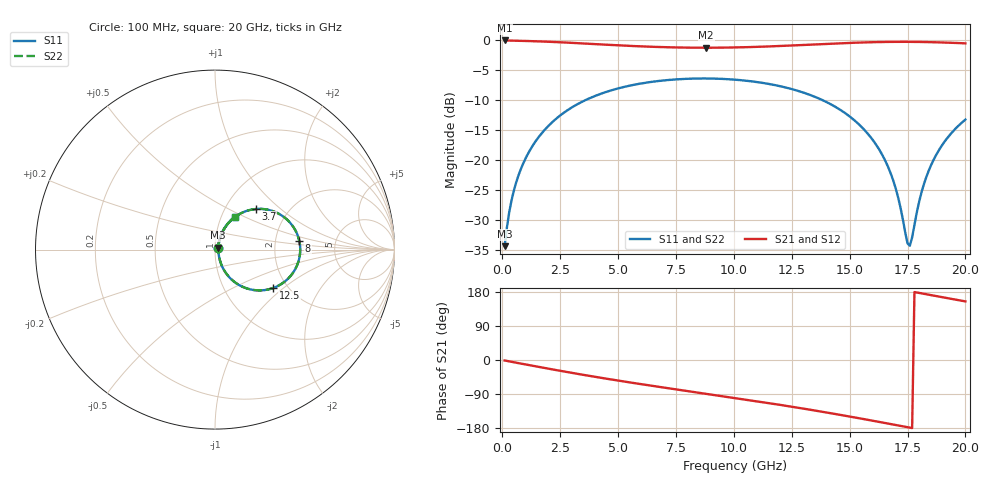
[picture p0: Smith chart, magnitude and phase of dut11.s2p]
! Touchstone file exported from HFSS 2026.1.0
!  File:  C:/ffzhzh/LocalFiles/Ansys_Project_Files/temp_train_TSV_RDL_11_1782961420_6388.aedt
!  Generated:  11:13:54 AM Jul  2, 2026
!  Design:  TSV_RDL
!  Project:  temp_train_TSV_RDL_11_1782961420_6388
! Variables:
!  h_bsmrdl = 4.6um
!  h_ox = 20um
!  h_rdl = 5um
!  h_sub = 55.05um
!  h_tmrdl = 2.82um
!  h_tsv = 55.05um
!  h_via = 3um
!  l_bsmrdl = 274.31um
!  l_sub = 3527.35um
!  l_tmrdl = 544.65um
!  m_sub = 200um
!  pitch = 49.4um
!  r_tsv = 13.88um
!  s_tmrdl = 10um
!  w_bsmrdl = 13.69um
!  w_sub = 500um
!  w_tmrdl = 28.25um
!  x_tsv_center1 = 558.775um
!  x_tsv_center2 = 846.775um
!  x_tsv_center3 = 1419.675um
!  x_tsv_center4 = 1707.675um
!  x_tsv_center5 = 2280.575um
!  x_tsv_center6 = 2568.575um
# GHz S MA R 50.000000
! Terminal data exported
! Port[1] = TM_RDL1_1_T1
! Port[2] = TM_RDL5_1_T1
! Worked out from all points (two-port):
!   200 points, 100 MHz to 20 GHz, reference 50 ohm
!   highest |S21| = -0.14 dB at 100 MHz (marker M1); lowest = -1.3 dB at 8.8 GHz (marker M2)
!   |S21| within 3 dB of the highest: start of sweep to end of sweep
!   lowest |S11| = -34.4 dB at 100 MHz (marker M3), VSWR 1.04, Z = 51.6 + j1.12 ohm
!   |S11| at or under -10 dB: start of sweep to 3.632 GHz; 13.79 GHz to end of sweep
!   |S22| runs from -34.4 to -6.5 dB; largest |S21 - S12| = 9.7e-14
!   S11 on the Smith chart (normalised r, x): 100 MHz: 1.03, +0.02; 3.7 GHz: 1.38, +0.70; 8 GHz: 2.74, +0.34; 12.5 GHz: 1.68, -0.85; 20 GHz: 1.16, +0.45
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0.1  0.01905 34.7  0.9845 -1.2  0.9845 -1.2  0.01905 34.7
! Gamma 0 0 0 0
! Port Impedance 50 0 50 0
0.3  0.03657 58.8  0.9825 -3.6  0.9825 -3.6  0.03657 58.8
0.5  0.05537 64.7  0.9803 -6.0  0.9803 -6.0  0.05537 64.7
1.1  0.1113 66.8  0.9738 -12.9  0.9738 -12.9  0.1113 66.8
2.1  0.2006 59.9  0.9586 -24.1  0.9586 -24.1  0.2006 59.9
3.5  0.3075 46.8  0.9294 -39.2  0.9294 -39.2  0.3075 46.8
3.7  0.3206 44.8  0.9249 -41.3  0.9249 -41.3  0.3206 44.8
6.8  0.4537 16.4  0.8678 -71.2  0.8678 -71.2  0.4537 16.4
8  0.472 5.9  0.858 -82.0  0.858 -82.0  0.472 5.9
8.8  0.4748 -0.9  0.8563 -89.1  0.8563 -89.1  0.4748 -0.9
10.1  0.4632 -12.2  0.8616 -100.7  0.8616 -100.7  0.4632 -12.1
12.5  0.3877 -33.6  0.8939 -123.3  0.8939 -123.3  0.3876 -33.6
13.4  0.34 -42.0  0.9105 -132.3  0.9105 -132.3  0.34 -41.9
15.4  0.1971 -60.4  0.9452 -153.6  0.9452 -153.6  0.1971 -60.3
16.7  0.08361 -67.0  0.9577 -168.2  0.9577 -168.2  0.08365 -66.8
17.1  0.04812 -61.4  0.959 -172.7  0.959 -172.7  0.04823 -60.9
17.5  0.02013 -18.4  0.9589 -177.3  0.9589 -177.3  0.02052 -17.8
17.6  0.0192 8.0  0.9587 -178.4  0.9587 -178.4  0.01964 8.0
18.1  0.05306 63.2  0.9564 175.9  0.9564 175.9  0.05328 62.8
18.5  0.08849 67.4  0.953 171.3  0.953 171.3  0.08866 67.1
19.1  0.1414 65.5  0.9459 164.6  0.9459 164.6  0.1415 65.3
20  0.2159 58.5  0.9313 154.7  0.9313 154.7  0.216 58.4
